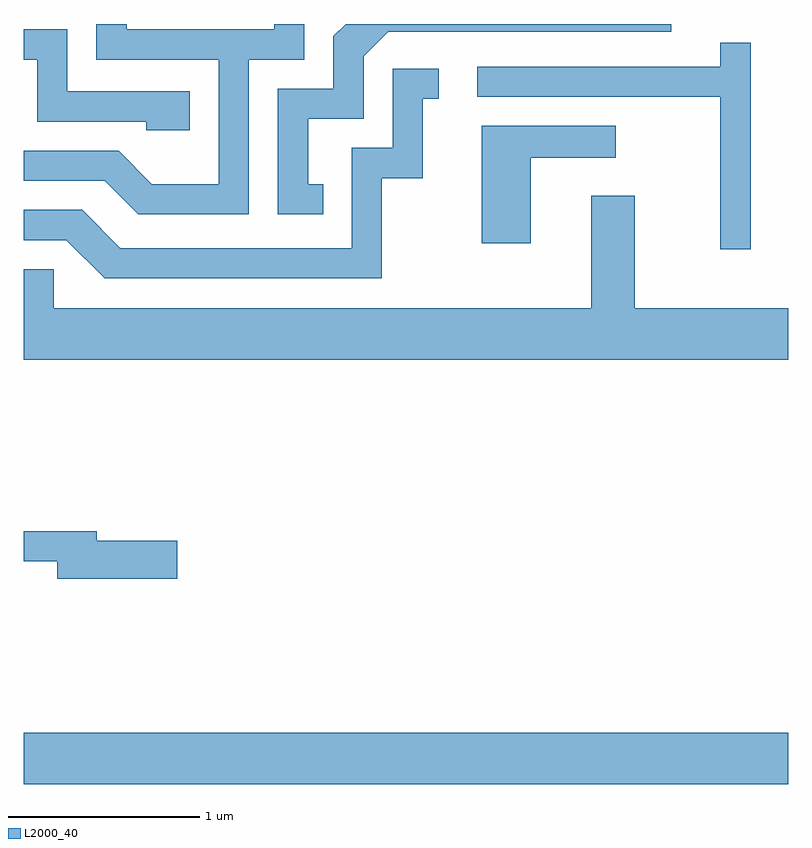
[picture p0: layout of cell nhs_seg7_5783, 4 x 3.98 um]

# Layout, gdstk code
import gdstk
lib = gdstk.Library(unit=1e-6, precision=1e-09)
def R(c, l, rs):  # rectangles x0, y0, x1, y1
    for r in rs: c.add(gdstk.rectangle(r[:2], r[2:], *l))
def P(c, l, *ps):  # polygons
    for p in ps: c.add(gdstk.Polygon(p, *l))
L2000_40 = (2000, 40)

nhs_seg7_5783 = lib.new_cell('nhs_seg7_5783')
R(nhs_seg7_5783, L2000_40, [(361.611,1754.276,365.611,1754.544)])
P(nhs_seg7_5783, L2000_40, [(362.789,1758.066),(363.079,1758.066),(363.079,1758.252),(362.921,1758.252),(362.921,1758.224),(362.149,1758.224),(362.149,1758.252),(361.991,1758.252),(361.991,1758.066),(362.631,1758.066),(362.631,1757.414),(362.282,1757.414),(362.107,1757.589),(361.611,1757.589),(361.611,1757.431),(362.034,1757.431),(362.209,1757.256),(362.789,1757.256)],
  [(363.178,1757.414),(363.099,1757.414),(363.099,1757.756),(363.389,1757.756),(363.389,1758.084),(363.517,1758.211),(364.999,1758.211),(364.999,1758.252),(363.296,1758.252),(363.231,1758.187),(363.231,1757.914),(362.941,1757.914),(362.941,1757.256),(363.178,1757.256)],
  [(362.479,1757.899),(361.839,1757.899),(361.839,1758.224),(361.611,1758.224),(361.611,1758.066),(361.681,1758.066),(361.681,1757.741),(362.251,1757.741),(362.251,1757.696),(362.479,1757.696)],
  [(365.414,1758.153),(365.256,1758.153),(365.256,1758.029),(363.983,1758.029),(363.983,1757.871),(365.256,1757.871),(365.256,1757.073),(365.414,1757.073)],
  [(363.484,1757.446),(363.699,1757.446),(363.699,1757.861),(363.783,1757.861),(363.783,1758.019),(363.541,1758.019),(363.541,1757.604),(363.326,1757.604),(363.326,1757.079),(362.117,1757.079),(361.917,1757.279),(361.611,1757.279),(361.611,1757.121),(361.834,1757.121),(362.034,1756.921),(363.484,1756.921)],
  [(364.264,1757.551),(364.708,1757.551),(364.708,1757.719),(364.006,1757.719),(364.006,1757.106),(364.264,1757.106)],
  [(365.611,1756.764),(364.809,1756.764),(364.809,1757.354),(364.581,1757.354),(364.581,1756.764),(361.769,1756.764),(361.769,1756.969),(361.611,1756.969),(361.611,1756.496),(365.611,1756.496)],
  [(362.414,1755.549),(361.994,1755.549),(361.994,1755.599),(361.611,1755.599),(361.611,1755.441),(361.786,1755.441),(361.786,1755.351),(362.414,1755.351)])

lib.write_gds('nhs_seg7_5783.gds')
